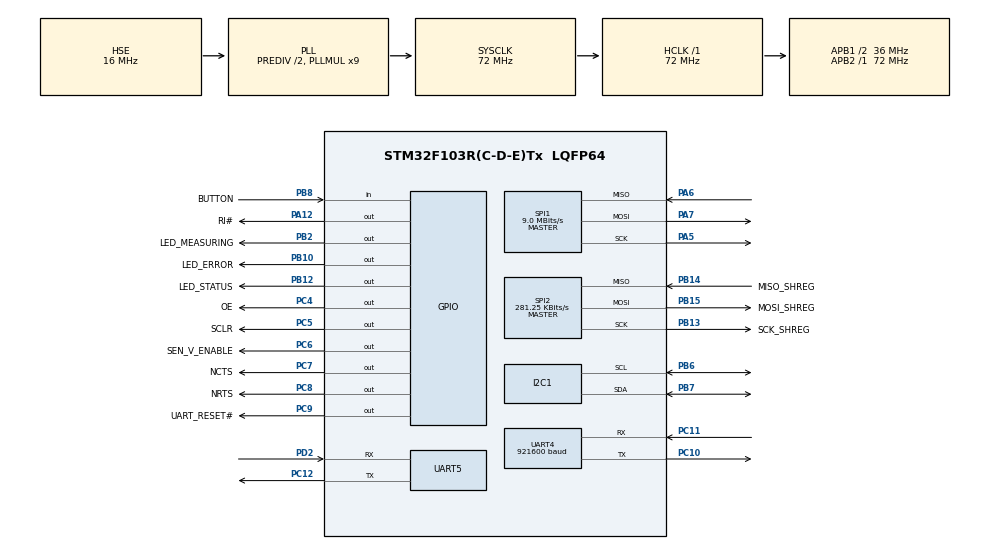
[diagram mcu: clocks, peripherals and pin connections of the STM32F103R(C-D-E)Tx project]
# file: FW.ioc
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Dma.Request0=UART4_TX
Dma.Request1=UART4_RX
Dma.UART4_RX.1.Direction=DMA_PERIPH_TO_MEMORY
Dma.UART4_RX.1.Instance=DMA2_Channel3
Dma.UART4_RX.1.MemDataAlignment=DMA_MDATAALIGN_BYTE
Dma.UART4_RX.1.MemInc=DMA_MINC_ENABLE
Dma.UART4_RX.1.Mode=DMA_NORMAL
Dma.UART4_RX.1.PeriphDataAlignment=DMA_PDATAALIGN_BYTE
Dma.UART4_RX.1.PeriphInc=DMA_PINC_DISABLE
Dma.UART4_RX.1.Priority=DMA_PRIORITY_LOW
Dma.UART4_TX.0.Direction=DMA_MEMORY_TO_PERIPH
Dma.UART4_TX.0.Instance=DMA2_Channel5
Dma.UART4_TX.0.MemDataAlignment=DMA_MDATAALIGN_BYTE
Dma.UART4_TX.0.MemInc=DMA_MINC_ENABLE
Dma.UART4_TX.0.Mode=DMA_NORMAL
Dma.UART4_TX.0.PeriphDataAlignment=DMA_PDATAALIGN_BYTE
Dma.UART4_TX.0.PeriphInc=DMA_PINC_DISABLE
Dma.UART4_TX.0.Priority=DMA_PRIORITY_LOW
Mcu.Family=STM32F1
Mcu.Name=STM32F103R(C-D-E)Tx
Mcu.Package=LQFP64
NVIC.DMA2_Channel3_IRQn=true\:0\:0\:false\:false\:true\:false\:true\:true
NVIC.DMA2_Channel4_5_IRQn=true\:0\:0\:false\:false\:true\:false\:true\:true
NVIC.PriorityGroup=NVIC_PRIORITYGROUP_4
NVIC.TIM2_IRQn=true\:0\:0\:false\:false\:true\:true\:true\:true
NVIC.TIM5_IRQn=true\:0\:0\:false\:false\:true\:true\:true\:true
NVIC.UART4_IRQn=true\:0\:0\:false\:false\:true\:true\:true\:true
PA12.GPIO_Label=RI\#
PA12.Signal=GPIO_Output
PA13.Mode=Trace_Asynchronous_SW
PA13.Signal=SYS_JTMS-SWDIO
PA14.Mode=Trace_Asynchronous_SW
PA14.Signal=SYS_JTCK-SWCLK
PA5.GPIO_Mode=GPIO_MODE_AF_PP
PA5.GPIO_Speed=GPIO_SPEED_FREQ_HIGH
PA5.Mode=Full_Duplex_Master
PA5.Signal=SPI1_SCK
PA6.GPIO_Mode=GPIO_MODE_INPUT
PA6.GPIO_PuPd=GPIO_NOPULL
PA6.Mode=Full_Duplex_Master
PA6.Signal=SPI1_MISO
PA7.GPIO_Mode=GPIO_MODE_AF_PP
PA7.GPIO_Speed=GPIO_SPEED_FREQ_HIGH
PA7.Mode=Full_Duplex_Master
PA7.Signal=SPI1_MOSI
PB10.GPIO_Label=LED_ERROR
PB10.Signal=GPIO_Output
PB12.GPIO_Label=LED_STATUS
PB12.Signal=GPIO_Output
PB13.GPIO_Label=SCK_SHREG
PB13.Mode=Full_Duplex_Master
PB13.Signal=SPI2_SCK
PB14.GPIO_Label=MISO_SHREG
PB14.Mode=Full_Duplex_Master
PB14.Signal=SPI2_MISO
PB15.GPIO_Label=MOSI_SHREG
PB15.Mode=Full_Duplex_Master
PB15.Signal=SPI2_MOSI
PB2.GPIO_Label=LED_MEASURING
PB2.Signal=GPIO_Output
PB3.Mode=Trace_Asynchronous_SW
PB3.Signal=SYS_JTDO-TRACESWO
PB6.Mode=I2C
PB6.Signal=I2C1_SCL
PB7.Mode=I2C
PB7.Signal=I2C1_SDA
PB8.GPIO_Label=BUTTON
PB8.Signal=GPIO_Input
PC10.Mode=Asynchronous
PC10.Signal=UART4_TX
PC11.Mode=Asynchronous
PC11.Signal=UART4_RX
PC12.Mode=Asynchronous
PC12.Signal=UART5_TX
PC4.GPIO_Label=OE
PC4.GPIO_PuPd=GPIO_NOPULL
PC4.Signal=GPIO_Output
PC5.GPIO_Label=SCLR
PC5.GPIO_PuPd=GPIO_NOPULL
PC5.Signal=GPIO_Output
PC6.GPIO_Label=SEN_V_ENABLE
PC6.Signal=GPIO_Output
PC7.GPIO_Label=NCTS
PC7.PinState=GPIO_PIN_SET
PC7.Signal=GPIO_Output
PC8.GPIO_Label=NRTS
PC8.PinState=GPIO_PIN_SET
PC8.Signal=GPIO_Output
PC9.GPIO_Label=UART_RESET\#
PC9.PinState=GPIO_PIN_SET
PC9.Signal=GPIO_Output
PD0-OSC_IN.Mode=HSE-External-Oscillator
PD0-OSC_IN.Signal=RCC_OSC_IN
PD1-OSC_OUT.Mode=HSE-External-Oscillator
PD1-OSC_OUT.Signal=RCC_OSC_OUT
PD2.Mode=Asynchronous
PD2.Signal=UART5_RX
ProjectManager.HeapSize=0x200
ProjectManager.StackSize=0x400
ProjectManager.TargetToolchain=STM32CubeIDE
RCC.AHBFreq_Value=72000000
RCC.APB1CLKDivider=RCC_HCLK_DIV2
RCC.APB1Freq_Value=36000000
RCC.APB1TimFreq_Value=72000000
RCC.APB2Freq_Value=72000000
RCC.APB2TimFreq_Value=72000000
RCC.HCLKFreq_Value=72000000
RCC.HSEDivPLL=RCC_HSE_PREDIV_DIV2
RCC.HSE_VALUE=16000000
RCC.PLLMUL=RCC_PLL_MUL9
RCC.PLLSourceVirtual=RCC_PLLSOURCE_HSE
RCC.SYSCLKFreq_VALUE=72000000
RCC.SYSCLKSource=RCC_SYSCLKSOURCE_PLLCLK
RCC.USBFreq_Value=72000000
SPI1.BaudRatePrescaler=SPI_BAUDRATEPRESCALER_8
SPI1.CalculateBaudRate=9.0 MBits/s
SPI1.DataSize=SPI_DATASIZE_8BIT
SPI1.Direction=SPI_DIRECTION_2LINES
SPI1.Mode=SPI_MODE_MASTER
SPI1.VirtualType=VM_MASTER
SPI2.BaudRatePrescaler=SPI_BAUDRATEPRESCALER_128
SPI2.CalculateBaudRate=281.25 KBits/s
SPI2.DataSize=SPI_DATASIZE_8BIT
SPI2.Direction=SPI_DIRECTION_2LINES
SPI2.FirstBit=SPI_FIRSTBIT_LSB
SPI2.Mode=SPI_MODE_MASTER
SPI2.VirtualType=VM_MASTER
TIM2.Period=10-1
TIM2.Prescaler=7200-1
TIM5.Period=10000-1
TIM5.Prescaler=7200-1
UART4.BaudRate=921600
UART4.VirtualMode=Asynchronous
UART5.VirtualMode=Asynchronous
VP_TIM2_VS_ClockSourceINT.Mode=Internal
VP_TIM5_VS_ClockSourceINT.Mode=Internal
board=custom

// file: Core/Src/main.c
/* USER CODE BEGIN Header */
/**
 ******************************************************************************
 * @file           : main.c
 * @brief          : Main program body
 ******************************************************************************
 * @attention
 *
 * Copyright (c) 2023 STMicroelectronics.
 * All rights reserved.
 *
 * This software is licensed under terms that can be found in the LICENSE file
 * in the root directory of this software component.
 * If no LICENSE file comes with this software, it is provided AS-IS.
 *
 ******************************************************************************
 */
/* USER CODE END Header */
#include "main.h"
#include "dma.h"
#include "i2c.h"
#include "spi.h"
#include "tim.h"
#include "usart.h"
#include "gpio.h"

/* USER CODE BEGIN Includes */
#include "spi_handler.h"
#include "sensors.h"
#include "uart_bridge.h"
/* USER CODE END Includes */

/* USER CODE BEGIN PD */
#define NUM_OF_SENSORS 8
#define NUM_OF_AXIS 2

#define PERIOD 0 //ms
uint8_t fake=0;

/* USER CODE END PD */

/* USER CODE BEGIN PV */

uint16_t cnt = 0;
uint8_t data_ready = 0;
uint8_t measure = 1;
uint8_t data_rec = 0;
uint8_t app_wants_data = 0;
uint32_t time_start = 0;
float time_read = 0;

/* USER CODE END PV */

void SystemClock_Config(void);

int main(void)
{

  /* MCU Configuration--------------------------------------------------------*/

  /* Reset of all peripherals, Initializes the Flash interface and the Systick. */
  HAL_Init();

  /* Configure the system clock */
  SystemClock_Config();

  /* Initialize all configured peripherals */
  MX_GPIO_Init();
  MX_DMA_Init();
  MX_I2C1_Init();
  MX_UART4_Init();
  MX_UART5_Init();
  MX_SPI1_Init();
  MX_SPI2_Init();
  MX_TIM2_Init();
  MX_TIM5_Init();
  /* USER CODE BEGIN 2 */

  HAL_UART_Receive_DMA(&huart4, &data_rec, 1);

  /* USER CODE END 2 */

  /* Infinite loop */
  /* USER CODE BEGIN WHILE */

	uint8_t num_of_sensors = 8;
	Sensor* sensors = (Sensor*) malloc(sizeof(Sensor) * num_of_sensors);
	MeasuredData faultSensor={
			.x_B=87,
			.y_B=87,
			.z_B=87
	};

	Message msg = {0};

	sensor_power_on();
	HAL_Delay(250);

	deactivateSCLR();
	HAL_Delay(250);

	for (int sen = 0; sen < (num_of_sensors); sen++) {
		if (sen == 3){
			continue;
		}

		sensors[sen] = sensor_init(sen + 1);
		if (!(sensors[sen].ok)) {
			while (1) {
				errorLED();
				HAL_Delay(200);
			}
		}
	}

	HAL_TIM_Base_Start_IT(&htim5);
	HAL_TIM_Base_Start_IT(&htim2);
	while (1) {

		if (min_tim > 0)
		{
			if (uart_rec)
			{
				switch (data_rec)
				{
				case 's':
					measure = 1;
					break;
				case 'd':
					measure = 0;
					break;
				case '?':
					app_wants_data = 1;
				}
				uart_rec = 0;
				HAL_UART_Receive_DMA(&huart4, &data_rec, 1);
			}

			read_time();
			cnt++;
			if (cnt >= PERIOD)
			{
				cnt = 0;
				if (measure)
				{
					for (int sen = 0; sen < NUM_OF_SENSORS; sen++)
					{
						if(sen==3)
						{
							memcpy(&msg.data[sen],&faultSensor,sizeof(MeasuredData));
							continue;
						}
						read_sensor_data(&(sensors[sen]));
						memcpy(&msg.data[sen],&sensors[sen].measured_data,sizeof(MeasuredData));
					}
					if (data_sent > 0)
					{
						data_sent = 0;
						if (data_ready > 0)
						{
							errorLED();
						}
						data_ready = 1;
					}
				}
			}

			if (data_ready && app_wants_data)
			{

				HAL_UART_Transmit_DMA(&huart4, (uint8_t*)&msg, sizeof(msg));
				data_ready = 0;
				app_wants_data = 0;
				time_read = read_time();
			}

//			if (error_tim >= PERIOD)
//			{
//				errorLED();
//			}
			error_tim = 0;

			min_tim = 0;
		}

    /* USER CODE END WHILE */

	}
}

void SystemClock_Config(void)
{
  RCC_OscInitTypeDef RCC_OscInitStruct = {0};
  RCC_ClkInitTypeDef RCC_ClkInitStruct = {0};

  /** Initializes the RCC Oscillators according to the specified parameters
  * in the RCC_OscInitTypeDef structure.
  */
  RCC_OscInitStruct.OscillatorType = RCC_OSCILLATORTYPE_HSE;
  RCC_OscInitStruct.HSEState = RCC_HSE_ON;
  RCC_OscInitStruct.HSEPredivValue = RCC_HSE_PREDIV_DIV2;
  RCC_OscInitStruct.HSIState = RCC_HSI_ON;
  RCC_OscInitStruct.PLL.PLLState = RCC_PLL_ON;
  RCC_OscInitStruct.PLL.PLLSource = RCC_PLLSOURCE_HSE;
  RCC_OscInitStruct.PLL.PLLMUL = RCC_PLL_MUL9;
  if (HAL_RCC_OscConfig(&RCC_OscInitStruct) != HAL_OK)
  {
    Error_Handler();
  }

  /** Initializes the CPU, AHB and APB buses clocks
  */
  RCC_ClkInitStruct.ClockType = RCC_CLOCKTYPE_HCLK|RCC_CLOCKTYPE_SYSCLK
                              |RCC_CLOCKTYPE_PCLK1|RCC_CLOCKTYPE_PCLK2;
  RCC_ClkInitStruct.SYSCLKSource = RCC_SYSCLKSOURCE_PLLCLK;
  RCC_ClkInitStruct.AHBCLKDivider = RCC_SYSCLK_DIV1;
  RCC_ClkInitStruct.APB1CLKDivider = RCC_HCLK_DIV2;
  RCC_ClkInitStruct.APB2CLKDivider = RCC_HCLK_DIV1;

  if (HAL_RCC_ClockConfig(&RCC_ClkInitStruct, FLASH_LATENCY_2) != HAL_OK)
  {
    Error_Handler();
  }
}

void Error_Handler(void)
{
	__disable_irq();
	while (1) {
	}
}
